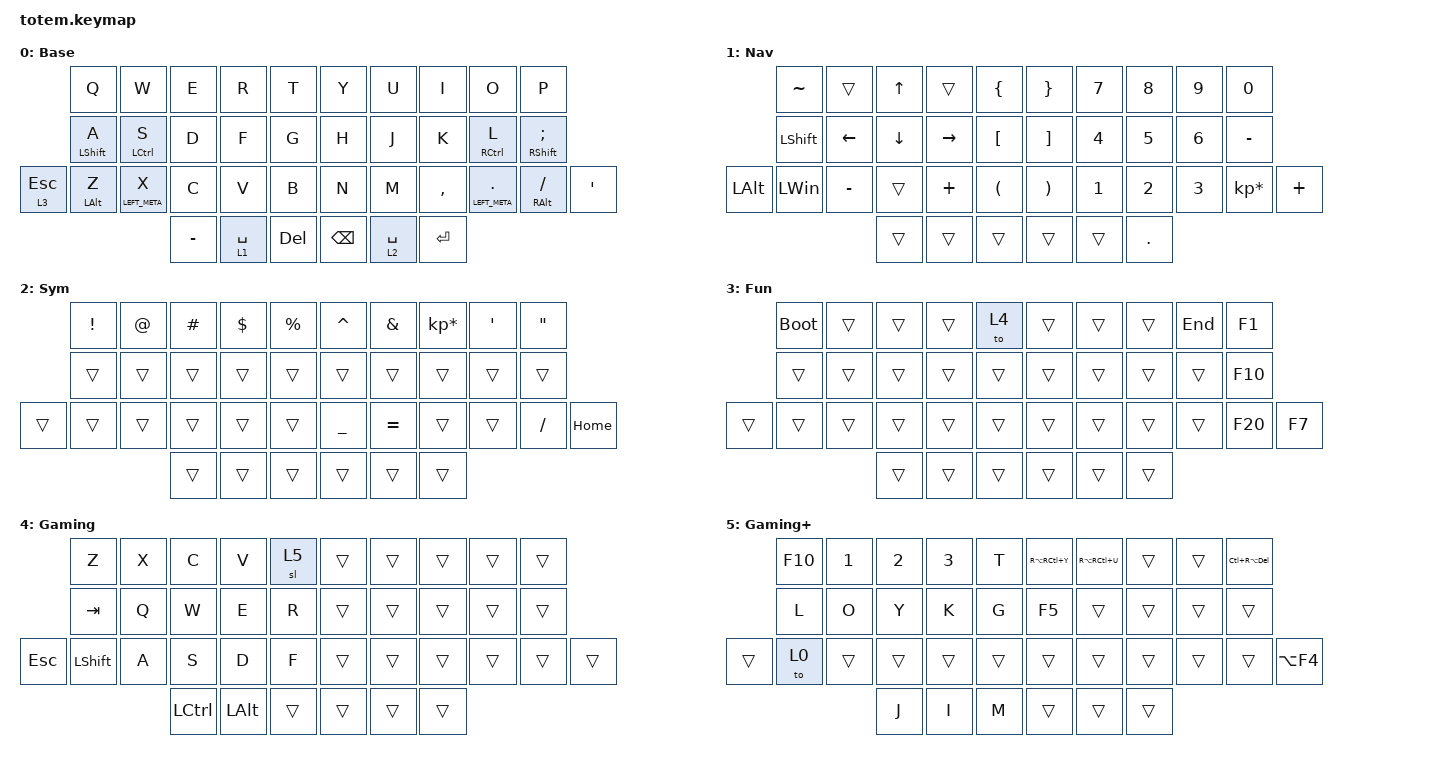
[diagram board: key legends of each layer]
//
//                                                        ▀▀▀▀▀     ▀▀▀▀▀          ▀▀█▀▀
//                                                        ▄▀▀▀▄  ▄  ▄▀▀▀▄  ▄  ▄▀▀▀▄  █  ▄▀▀▀▄
//                                                        █   █  █  █   █  █  █   █  █  █   █
//                                                         ▀▀▀   █   ▀▀▀   █   ▀▀▀   ▀   ▀▀▀
//                                                               █      ▄▄▄█▄▄▄    █   █  
//                                                               ▀      █  █  █     █▄█
//                                                             ▀▀▀▀▀    █  █  █      ▀
//                                                                      ▀  ▀  ▀
//
// ▄▄▄▄▄▄▄▄▄▄▄▄▄▄▄▄▄▄▄▄▄▄▄▄▄▄▄▄▄▄▄▄▄▄▄▄▄▄▄▄▄▄▄▄▄▄▄▄▄▄▄▄▄▄▄▄▄▄▄▄▄▄▄▄▄▄▄▄▄▄▄▄▄▄▄▄▄▄▄▄▄▄▄▄▄▄▄▄▄▄▄▄▄▄▄▄▄▄▄▄▄▄▄▄▄▄▄▄▄▄▄▄▄▄▄▄▄▄▄▄▄▄▄▄▄▄▄▄▄▄▄▄▄▄▄▄▄▄▄▄▄▄▄▄▄▄▄▄▄

#include <behaviors.dtsi>
#include <dt-bindings/zmk/keys.h>

#define Base        0
#define Media       1
#define Nav         2
#define Mouse       3
#define Sym         4
#define Num         5
#define Fun         6
#define Button      7
#define Game        8
#define Gameplus    9

&mt {
    quick-tap-ms = <100>;
    global-quick-tap;
    flavor = "tap-preferred";
    tapping-term-ms = <170>;
};

&lt {
    tapping-term-ms = <240>;
    flavor = "balanced";
    quick-tap-ms = <150>;
};

/ {
    behaviors {
        hm: homerow_mods {
            compatible = "zmk,behavior-hold-tap";
            label = "HOMEROW_MODS";
            #binding-cells = <2>;
            flavor = "tap-preferred";
            tapping-term-ms = <200>;
            quick-tap-ms = <125>;
            global-quick-tap;
            bindings = <&kp>, <&kp>;
        };
    };

    combos { compatible = "zmk,combos"; };

    keymap {
        compatible = "zmk,keymap";

        Base {
            label = "Base";
            bindings = <
              &kp Q             &kp W               &kp E      &kp R        &kp T         &kp Y          &kp U        &kp I      &kp O                 &kp P
              &hm LEFT_SHIFT A  &hm LEFT_CONTROL S  &kp D      &kp F        &kp G         &kp H          &kp J        &kp K      &hm RIGHT_CONTROL L   &hm RIGHT_SHIFT SEMICOLON
&lt 3 ESCAPE  &mt LEFT_ALT Z    &mt LEFT_META X     &kp C      &kp V        &kp B         &kp N          &kp M        &kp COMMA  &mt LEFT_META PERIOD  &mt RIGHT_ALT SLASH        &kp APOSTROPHE
                                                    &kp MINUS  &lt 1 SPACE  &kp DELETE    &kp BACKSPACE  &lt 2 SPACE  &kp ENTER
            >;
        };

        Nav {
            label = "Nav";
            bindings = <
              &kp TILDE       &trans     &kp UP_ARROW  &trans     &kp LBRC    &kp RBRC  &kp NUMBER_7  &kp NUMBER_8  &kp NUMBER_9  &kp NUMBER_0
              &kp LEFT_SHIFT  &kp LEFT   &kp DOWN      &kp RIGHT  &kp LBKT    &kp RBKT  &kp NUMBER_4  &kp NUMBER_5  &kp NUMBER_6  &kp MINUS
&kp LEFT_ALT  &kp LEFT_WIN    &kp MINUS  &trans        &kp PLUS   &kp LPAR    &kp RPAR  &kp NUMBER_1  &kp NUMBER_2  &kp NUMBER_3  &kp KP_MULTIPLY  &kp PLUS
                                         &trans        &trans     &trans      &trans    &trans        &kp DOT
            >;
        };

        Sym {
            label = "Sym";
            bindings = <
        &kp EXCL  &kp AT  &kp HASH  &kp DOLLAR  &kp PERCENT    &kp CARET  &kp AMPERSAND  &kp KP_ASTERISK  &kp SQT  &kp DQT
        &trans    &trans  &trans    &trans      &trans         &trans     &trans         &trans           &trans   &trans
&trans  &trans    &trans  &trans    &trans      &trans         &kp UNDER  &kp EQUAL      &trans           &trans   &kp SLASH  &kp HOME
                          &trans    &trans      &trans         &trans     &trans         &trans
            >;
        };

        Fun {
            label = "Fun";
            bindings = <
        &bootloader  &trans  &trans  &trans  &to 4     &trans  &trans  &trans  &kp END  &kp F1
        &trans       &trans  &trans  &trans  &trans    &trans  &trans  &trans  &trans   &kp F10
&trans  &trans       &trans  &trans  &trans  &trans    &trans  &trans  &trans  &trans   &kp F20  &kp F7
                             &trans  &trans  &trans    &trans  &trans  &trans
            >;
        };

        Gaming {
            bindings = <
            &kp Z           &kp X  &kp C      &kp V         &sl 5     &trans  &trans  &trans  &trans  &trans
            &kp TAB         &kp Q  &kp W      &kp E         &kp R     &trans  &trans  &trans  &trans  &trans
&kp ESCAPE  &kp LEFT_SHIFT  &kp A  &kp S      &kp D         &kp F     &trans  &trans  &trans  &trans  &trans  &trans
                                   &kp LCTRL  &kp LEFT_ALT  &trans    &trans  &trans  &trans
            >;

            label = "Gaming";
        };

        Gaming+ {
            bindings = <
        &kp F10  &kp NUMBER_1  &kp NUMBER_2  &kp NUMBER_3  &kp T     &kp RA(RC(Y))  &kp RA(RC(U))  &trans  &trans  &kp LC(RA(DEL))
        &kp L    &kp O         &kp Y         &kp K         &kp G     &kp F5         &trans         &trans  &trans  &trans
&trans  &to 0    &trans        &trans        &trans        &trans    &trans         &trans         &trans  &trans  &trans           &kp LA(F4)
                               &kp J         &kp I         &kp M     &trans         &trans         &trans
            >;

            label = "Gaming+";
        };
    };
};
